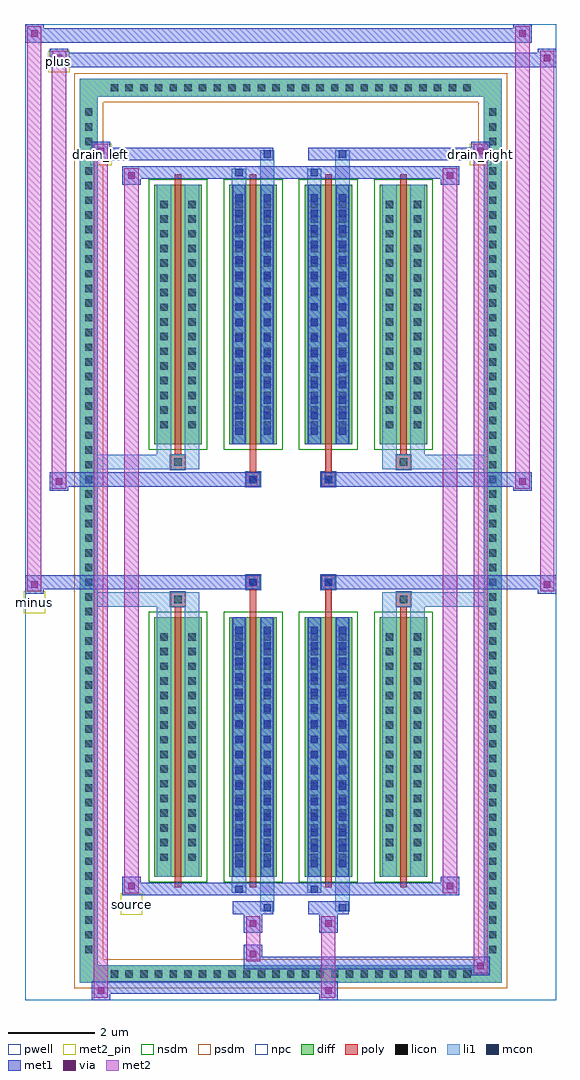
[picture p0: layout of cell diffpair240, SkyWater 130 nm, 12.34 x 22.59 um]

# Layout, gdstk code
import gdstk
lib = gdstk.Library(unit=1e-6, precision=5e-09)
def R(c, l, rs):  # rectangles x0, y0, x1, y1
    for r in rs: c.add(gdstk.rectangle(r[:2], r[2:], *l))
def A(c, l, x, y, w, h, nx, ny, dx, dy):  # array of equal rectangles
    R(c, l, [(x+i*dx, y+j*dy, x+i*dx+w, y+j*dy+h) for i in range(nx) for j in range(ny)])
def P(c, l, *ps):  # polygons
    for p in ps: c.add(gdstk.Polygon(p, *l))
pwell = (64, 44)
diff = (65, 20)
poly = (66, 20)
licon = (66, 44)
li1 = (67, 20)
mcon = (67, 44)
met1 = (68, 20)
via = (68, 44)
met2_pin = (69, 16)
met2 = (69, 20)
nsdm = (93, 44)
psdm = (94, 20)
npc = (95, 20)

diffpair240 = lib.new_cell('diffpair240')
R(diffpair240, pwell, [(-6.15,-10.86,6.15,11.73), (-3.47,-9.05,-0.01,-0.825), (0.01,-9.05,3.47,-0.825), (-3.47,0.825,-0.01,9.05), (0.01,0.825,3.47,9.05)])
A(diffpair240, diff, -4.285, -10.46, 0.41, 0.41, 25, 2, 0.34, 20.51)
A(diffpair240, diff, -4.88, -9.895, 0.41, 0.41, 1, 58, 0, 0.34)
A(diffpair240, diff, 4.47, -9.895, 0.41, 0.41, 1, 58, 0, 0.34)
A(diffpair240, diff, -3.16, -8.005, 1.1, 6, 4, 2, 1.74, 10.01)
R(diffpair240, diff, [(-4.285,-10.46,4.285,-10.05), (-4.88,-9.895,-4.47,9.895), (4.47,-9.895,4.88,9.895), (-4.285,10.05,4.285,10.46)])
P(diffpair240, diff, [(4.88,10.46),(-4.88,10.46),(-4.88,-10.05),(-4.47,-10.05),(-4.47,10.05),(4.47,10.05),(4.47,-10.05),(-4.47,-10.05),(-4.88,-10.05),(-4.88,-10.46),(4.88,-10.46)])
A(diffpair240, poly, -2.685, -8.255, 0.15, 6.5, 4, 2, 1.74, 10.01)
R(diffpair240, poly, [(-2.775,-1.755,-2.445,-1.425), (-2.775,-1.755,-2.445,-1.425), (-0.945,-1.755,-0.795,-1.355), (0.795,-1.755,0.945,-1.355), (2.445,-1.755,2.775,-1.425), (2.445,-1.755,2.775,-1.425), (-1.035,-1.355,-0.705,-1.025), (-1.035,-1.355,-0.705,-1.025), (0.705,-1.355,1.035,-1.025), (0.705,-1.355,1.035,-1.025), (-1.035,1.025,-0.705,1.355), (-1.035,1.025,-0.705,1.355), (0.705,1.025,1.035,1.355), (0.705,1.025,1.035,1.355), (-0.945,1.355,-0.795,1.755), (0.795,1.355,0.945,1.755), (-2.775,1.425,-2.445,1.755), (-2.775,1.425,-2.445,1.755), (2.445,1.425,2.775,1.755), (2.445,1.425,2.775,1.755)])
A(diffpair240, licon, -4.165, -10.34, 0.17, 0.17, 25, 2, 0.34, 20.51)
A(diffpair240, licon, -4.76, -9.775, 0.17, 0.17, 1, 58, 0, 0.34)
A(diffpair240, licon, 4.59, -9.775, 0.17, 0.17, 1, 58, 0, 0.34)
A(diffpair240, licon, -3.02, -7.64, 0.17, 0.17, 1, 16, 0, 0.34)
A(diffpair240, licon, -2.37, -7.64, 0.17, 0.17, 1, 16, 0, 0.34)
A(diffpair240, licon, -1.28, -7.64, 0.17, 0.17, 1, 16, 0, 0.34)
A(diffpair240, licon, -0.63, -7.64, 0.17, 0.17, 1, 16, 0, 0.34)
A(diffpair240, licon, 0.46, -7.64, 0.17, 0.17, 1, 16, 0, 0.34)
A(diffpair240, licon, 1.11, -7.64, 0.17, 0.17, 1, 16, 0, 0.34)
A(diffpair240, licon, 2.2, -7.64, 0.17, 0.17, 1, 16, 0, 0.34)
A(diffpair240, licon, 2.85, -7.64, 0.17, 0.17, 1, 16, 0, 0.34)
A(diffpair240, licon, -3.02, 2.37, 0.17, 0.17, 1, 16, 0, 0.34)
A(diffpair240, licon, -2.37, 2.37, 0.17, 0.17, 1, 16, 0, 0.34)
A(diffpair240, licon, -1.28, 2.37, 0.17, 0.17, 1, 16, 0, 0.34)
A(diffpair240, licon, -0.63, 2.37, 0.17, 0.17, 1, 16, 0, 0.34)
A(diffpair240, licon, 0.46, 2.37, 0.17, 0.17, 1, 16, 0, 0.34)
A(diffpair240, licon, 1.11, 2.37, 0.17, 0.17, 1, 16, 0, 0.34)
A(diffpair240, licon, 2.2, 2.37, 0.17, 0.17, 1, 16, 0, 0.34)
A(diffpair240, licon, 2.85, 2.37, 0.17, 0.17, 1, 16, 0, 0.34)
R(diffpair240, licon, [(-2.695,-1.675,-2.525,-1.505), (2.525,-1.675,2.695,-1.505), (-0.955,-1.275,-0.785,-1.105), (0.785,-1.275,0.955,-1.105), (-0.955,1.105,-0.785,1.275), (0.785,1.105,0.955,1.275), (-2.695,1.505,-2.525,1.675), (2.525,1.505,2.695,1.675)])
A(diffpair240, li1, -4.245, -10.42, 0.33, 0.33, 25, 2, 0.34, 20.51)
A(diffpair240, li1, -4.84, -9.855, 0.33, 0.33, 1, 58, 0, 0.34)
A(diffpair240, li1, 4.51, -9.855, 0.33, 0.33, 1, 58, 0, 0.34)
A(diffpair240, li1, -1.28, -7.79, 0.17, 0.17, 1, 16, 0, 0.36)
A(diffpair240, li1, -0.63, -7.79, 0.17, 0.17, 1, 16, 0, 0.36)
A(diffpair240, li1, 0.46, -7.79, 0.17, 0.17, 1, 16, 0, 0.36)
A(diffpair240, li1, 1.11, -7.79, 0.17, 0.17, 1, 16, 0, 0.36)
A(diffpair240, li1, -3.1, -7.72, 0.33, 0.33, 1, 16, 0, 0.34)
A(diffpair240, li1, -2.45, -7.72, 0.33, 0.33, 1, 16, 0, 0.34)
A(diffpair240, li1, -1.36, -7.72, 0.33, 0.33, 1, 16, 0, 0.34)
A(diffpair240, li1, -0.71, -7.72, 0.33, 0.33, 1, 16, 0, 0.34)
A(diffpair240, li1, 0.38, -7.72, 0.33, 0.33, 1, 16, 0, 0.34)
A(diffpair240, li1, 1.03, -7.72, 0.33, 0.33, 1, 16, 0, 0.34)
A(diffpair240, li1, 2.12, -7.72, 0.33, 0.33, 1, 16, 0, 0.34)
A(diffpair240, li1, 2.77, -7.72, 0.33, 0.33, 1, 16, 0, 0.34)
A(diffpair240, li1, -1.28, 2.22, 0.17, 0.17, 1, 16, 0, 0.36)
A(diffpair240, li1, -0.63, 2.22, 0.17, 0.17, 1, 16, 0, 0.36)
A(diffpair240, li1, 0.46, 2.22, 0.17, 0.17, 1, 16, 0, 0.36)
A(diffpair240, li1, 1.11, 2.22, 0.17, 0.17, 1, 16, 0, 0.36)
A(diffpair240, li1, -3.1, 2.29, 0.33, 0.33, 1, 16, 0, 0.34)
A(diffpair240, li1, -2.45, 2.29, 0.33, 0.33, 1, 16, 0, 0.34)
A(diffpair240, li1, -1.36, 2.29, 0.33, 0.33, 1, 16, 0, 0.34)
A(diffpair240, li1, -0.71, 2.29, 0.33, 0.33, 1, 16, 0, 0.34)
A(diffpair240, li1, 0.38, 2.29, 0.33, 0.33, 1, 16, 0, 0.34)
A(diffpair240, li1, 1.03, 2.29, 0.33, 0.33, 1, 16, 0, 0.34)
A(diffpair240, li1, 2.12, 2.29, 0.33, 0.33, 1, 16, 0, 0.34)
A(diffpair240, li1, 2.77, 2.29, 0.33, 0.33, 1, 16, 0, 0.34)
R(diffpair240, li1, [(-4.88,-10.46,-4.47,-10.05), (-4.88,-10.46,-4.47,-10.05), (-4.47,-10.46,4.47,-10.05), (4.47,-10.46,4.88,-10.05), (4.47,-10.46,4.88,-10.05), (-4.88,-10.05,-4.47,10.05), (4.47,-10.05,4.88,10.05), (-0.71,-8.81,-0.38,-8.005), (-0.63,-8.81,-0.46,-8.64), (1.03,-8.81,1.36,-8.005), (1.11,-8.81,1.28,-8.64), (-1.36,-8.38,-1.03,-8.005), (-1.28,-8.38,-1.11,-8.21), (0.38,-8.38,0.71,-8.005), (0.46,-8.38,0.63,-8.21), (-3.1,-8.005,-2.77,-2.005), (-2.45,-8.005,-2.12,-2.005), (-1.36,-8.005,-1.03,-2.005), (-0.71,-8.005,-0.38,-2.005), (0.38,-8.005,0.71,-2.005), (1.03,-8.005,1.36,-2.005), (2.12,-8.005,2.45,-2.005), (2.77,-8.005,3.1,-2.005), (-1.28,-7.79,-1.11,-2.22), (-0.63,-7.79,-0.46,-2.22), (0.46,-7.79,0.63,-2.22), (1.11,-7.79,1.28,-2.22), (-3.1,-2.005,-2.77,-1.425), (-2.45,-2.005,-2.12,-1.425), (2.12,-2.005,2.45,-1.425), (2.77,-2.005,3.1,-1.425), (-4.88,-1.755,-2.775,-1.425), (-3.1,-1.755,-2.775,-1.425), (-2.775,-1.755,-2.445,-1.425), (-2.445,-1.755,-2.12,-1.425), (2.12,-1.755,2.445,-1.425), (2.445,-1.755,2.775,-1.425), (2.445,-1.755,4.88,-1.425), (2.775,-1.755,3.1,-1.425), (-1.035,-1.355,-0.705,-1.025), (0.705,-1.355,1.035,-1.025), (-1.035,1.025,-0.705,1.355), (0.705,1.025,1.035,1.355), (-4.88,1.425,-2.775,1.755), (-3.1,1.425,-2.775,1.755), (-3.1,1.425,-2.77,2.005), (-2.775,1.425,-2.445,1.755), (-2.45,1.425,-2.12,2.005), (-2.445,1.425,-2.12,1.755), (2.12,1.425,2.445,1.755), (2.12,1.425,2.45,2.005), (2.445,1.425,2.775,1.755), (2.445,1.425,4.88,1.755), (2.77,1.425,3.1,2.005), (2.775,1.425,3.1,1.755), (-3.1,2.005,-2.77,8.005), (-2.45,2.005,-2.12,8.005), (-1.36,2.005,-1.03,8.005), (-0.71,2.005,-0.38,8.005), (0.38,2.005,0.71,8.005), (1.03,2.005,1.36,8.005), (2.12,2.005,2.45,8.005), (2.77,2.005,3.1,8.005), (-1.28,2.22,-1.11,7.79), (-0.63,2.22,-0.46,7.79), (0.46,2.22,0.63,7.79), (1.11,2.22,1.28,7.79), (-1.36,8.005,-1.03,8.38), (-0.71,8.005,-0.38,8.81), (0.38,8.005,0.71,8.38), (1.03,8.005,1.36,8.81), (-1.28,8.21,-1.11,8.38), (0.46,8.21,0.63,8.38), (-0.63,8.64,-0.46,8.81), (1.11,8.64,1.28,8.81), (-4.88,10.05,-4.47,10.46), (-4.88,10.05,-4.47,10.46), (-4.47,10.05,4.47,10.46), (4.47,10.05,4.88,10.46), (4.47,10.05,4.88,10.46)])
A(diffpair240, mcon, -1.28, -7.79, 0.17, 0.17, 1, 16, 0, 0.36)
A(diffpair240, mcon, -0.63, -7.79, 0.17, 0.17, 1, 16, 0, 0.36)
A(diffpair240, mcon, 0.46, -7.79, 0.17, 0.17, 1, 16, 0, 0.36)
A(diffpair240, mcon, 1.11, -7.79, 0.17, 0.17, 1, 16, 0, 0.36)
A(diffpair240, mcon, -1.28, 2.22, 0.17, 0.17, 1, 16, 0, 0.36)
A(diffpair240, mcon, -0.63, 2.22, 0.17, 0.17, 1, 16, 0, 0.36)
A(diffpair240, mcon, 0.46, 2.22, 0.17, 0.17, 1, 16, 0, 0.36)
A(diffpair240, mcon, 1.11, 2.22, 0.17, 0.17, 1, 16, 0, 0.36)
R(diffpair240, mcon, [(-0.63,-8.81,-0.46,-8.64), (1.11,-8.81,1.28,-8.64), (-1.28,-8.38,-1.11,-8.21), (0.46,-8.38,0.63,-8.21), (-0.955,-1.275,-0.785,-1.105), (0.785,-1.275,0.955,-1.105), (-0.955,1.105,-0.785,1.275), (0.785,1.105,0.955,1.275), (-1.28,8.21,-1.11,8.38), (0.46,8.21,0.63,8.38), (-0.63,8.64,-0.46,8.81), (1.11,8.64,1.28,8.81)])
A(diffpair240, met1, -1.34, -7.85, 0.29, 0.29, 1, 16, 0, 0.36)
A(diffpair240, met1, -0.69, -7.85, 0.29, 0.29, 1, 16, 0, 0.36)
A(diffpair240, met1, 0.4, -7.85, 0.29, 0.29, 1, 16, 0, 0.36)
A(diffpair240, met1, 1.05, -7.85, 0.29, 0.29, 1, 16, 0, 0.36)
A(diffpair240, met1, -1.34, 2.16, 0.29, 0.29, 1, 16, 0, 0.36)
A(diffpair240, met1, -0.69, 2.16, 0.29, 0.29, 1, 16, 0, 0.36)
A(diffpair240, met1, 0.4, 2.16, 0.29, 0.29, 1, 16, 0, 0.36)
A(diffpair240, met1, 1.05, 2.16, 0.29, 0.29, 1, 16, 0, 0.36)
R(diffpair240, met1, [(-4.61,-10.86,-4.18,-10.43), (0.655,-10.86,1.085,-10.43), (-4.61,-10.72,1.085,-10.43), (4.18,-10.29,4.61,-9.86), (-1.085,-10.15,4.61,-9.86), (-1.085,-10.01,-0.655,-9.58), (-1.085,-9.3,-0.655,-8.87), (0.655,-9.3,1.085,-8.87), (-1.34,-8.87,-0.4,-8.58), (-0.69,-8.87,-0.4,-8.58), (0.4,-8.87,1.34,-8.58), (1.05,-8.87,1.34,-8.58), (-3.9,-8.44,-3.47,-8.01), (-3.9,-8.44,-1.34,-8.15), (-1.34,-8.44,-1.05,-8.15), (-1.34,-8.44,-0.4,-8.15), (-0.4,-8.44,0.4,-8.15), (0.4,-8.44,0.69,-8.15), (0.4,-8.44,1.34,-8.15), (1.34,-8.44,3.9,-8.15), (3.47,-8.44,3.9,-8.01), (-1.34,-8.005,-1.05,-2.005), (-0.69,-8.005,-0.4,-2.005), (0.4,-8.005,0.69,-2.005), (1.05,-8.005,1.34,-2.005), (-6.15,-1.455,-5.72,-1.025), (5.72,-1.455,6.15,-1.025), (-6.15,-1.355,-0.705,-1.025), (-1.035,-1.355,-0.705,-1.025), (0.705,-1.355,1.035,-1.025), (0.705,-1.355,6.15,-1.025), (-1.015,-1.335,-0.725,-1.045), (0.725,-1.335,1.015,-1.045), (-5.58,0.925,-5.15,1.355), (5.15,0.925,5.58,1.355), (-5.58,1.025,-1.035,1.355), (-1.035,1.025,-0.705,1.355), (0.705,1.025,1.035,1.355), (1.035,1.025,5.58,1.355), (-1.015,1.045,-0.725,1.335), (0.725,1.045,1.015,1.335), (-1.34,2.005,-1.05,8.005), (-0.69,2.005,-0.4,8.005), (0.4,2.005,0.69,8.005), (1.05,2.005,1.34,8.005), (-3.9,8.01,-3.47,8.44), (3.47,8.01,3.9,8.44), (-3.9,8.15,-1.34,8.44), (-1.34,8.15,-1.05,8.44), (-1.34,8.15,-0.4,8.44), (-0.4,8.15,0.4,8.44), (0.4,8.15,0.69,8.44), (0.4,8.15,1.34,8.44), (1.34,8.15,3.9,8.44), (-4.61,8.58,-4.18,9.01), (-4.61,8.58,-1.34,8.87), (-1.34,8.58,-0.4,8.87), (-0.69,8.58,-0.4,8.87), (0.4,8.58,1.34,8.87), (1.05,8.58,1.34,8.87), (1.34,8.58,4.61,8.87), (4.18,8.58,4.61,9.01), (-5.58,10.73,-5.15,11.16), (-5.58,10.73,-3.47,11.06), (-3.47,10.73,3.47,11.06), (3.47,10.73,6.15,11.06), (5.72,10.73,6.15,11.16), (-6.15,11.3,-5.72,11.73), (-6.15,11.3,-3.47,11.63), (-3.47,11.3,3.47,11.63), (3.47,11.3,5.58,11.63), (5.15,11.3,5.58,11.73)])
R(diffpair240, via, [(-4.47,-10.72,-4.32,-10.57), (0.795,-10.72,0.945,-10.57), (4.32,-10.15,4.47,-10), (-0.945,-9.87,-0.795,-9.72), (-0.945,-9.16,-0.795,-9.01), (0.795,-9.16,0.945,-9.01), (-3.76,-8.3,-3.61,-8.15), (3.61,-8.3,3.76,-8.15), (-6.01,-1.315,-5.86,-1.165), (5.86,-1.315,6.01,-1.165), (-5.44,1.065,-5.29,1.215), (5.29,1.065,5.44,1.215), (-3.76,8.15,-3.61,8.3), (3.61,8.15,3.76,8.3), (-4.47,8.72,-4.32,8.87), (4.32,8.72,4.47,8.87), (-5.44,10.87,-5.29,11.02), (5.86,10.87,6.01,11.02), (-6.01,11.44,-5.86,11.59), (5.29,11.44,5.44,11.59)])
R(diffpair240, met2_pin, [(-3.935,-8.89,-3.435,-8.39), (-6.185,-1.905,-5.685,-1.405), (-4.645,8.46,-4.145,8.96), (4.145,8.46,4.645,8.96), (-5.615,10.61,-5.115,11.11)])
R(diffpair240, met2, [(-4.56,-10.81,-4.23,-10.48), (-4.56,-10.81,-4.23,8.96), (0.705,-10.81,1.035,-10.48), (0.705,-10.48,1.035,-9.25), (4.23,-10.24,4.56,-9.91), (4.23,-10.24,4.56,8.96), (-1.035,-9.96,-0.705,-9.63), (-1.035,-9.63,-0.705,-9.25), (-1.035,-9.25,-0.705,-8.92), (0.705,-9.25,1.035,-8.92), (-3.85,-8.39,-3.52,-8.06), (-3.85,-8.39,-3.52,8.39), (3.52,-8.39,3.85,-8.06), (3.52,-8.39,3.85,8.39), (-6.1,-1.405,-5.77,-1.075), (-6.1,-1.405,-5.77,11.68), (5.77,-1.405,6.1,-1.075), (5.77,-1.405,6.1,11.11), (-5.53,0.975,-5.2,1.305), (-5.53,0.975,-5.2,11.11), (5.2,0.975,5.53,1.305), (5.2,0.975,5.53,11.68), (-3.85,8.06,-3.52,8.39), (3.52,8.06,3.85,8.39), (-4.56,8.63,-4.23,8.96), (4.23,8.63,4.56,8.96), (-5.53,10.78,-5.2,11.11), (5.77,10.78,6.1,11.11), (-6.1,11.35,-5.77,11.68), (5.2,11.35,5.53,11.68)])
P(diffpair240, met2, [(6.1,-1.405),(6.1,-1.405),(6.1,-1.075),(6.1,-1.075)],
  [(6.1,10.78),(6.1,10.78),(6.1,11.11),(6.1,11.11)],
  [(-5.77,-1.405),(-5.77,-1.405),(-5.77,-1.075),(-5.77,-1.075)],
  [(-5.77,11.35),(-5.77,11.35),(-5.77,11.68),(-5.77,11.68)],
  [(5.53,0.975),(5.53,0.975),(5.53,1.305),(5.53,1.305)],
  [(5.53,11.35),(5.53,11.35),(5.53,11.68),(5.53,11.68)],
  [(-5.2,0.975),(-5.2,0.975),(-5.2,1.305),(-5.2,1.305)],
  [(-5.2,10.78),(-5.2,10.78),(-5.2,11.11),(-5.2,11.11)],
  [(-4.23,-10.81),(-4.23,-10.81),(-4.23,-10.48),(-4.23,-10.48)],
  [(-4.23,8.63),(-4.23,8.63),(-4.23,8.96),(-4.23,8.96)],
  [(4.56,-10.24),(4.56,-10.24),(4.56,-9.91),(4.56,-9.91)],
  [(4.56,8.63),(4.56,8.63),(4.56,8.96),(4.56,8.96)],
  [(-3.52,-8.39),(-3.52,-8.39),(-3.52,-8.06),(-3.52,-8.06)],
  [(-3.52,8.06),(-3.52,8.06),(-3.52,8.39),(-3.52,8.39)],
  [(3.85,-8.39),(3.85,-8.39),(3.85,-8.06),(3.85,-8.06)],
  [(3.85,8.06),(3.85,8.06),(3.85,8.39),(3.85,8.39)])
A(diffpair240, nsdm, -3.29, -8.135, 1.36, 6.26, 4, 2, 1.74, 10.01)
P(diffpair240, psdm, [(5.01,10.59),(-5.01,10.59),(-5.01,-9.92),(-4.34,-9.92),(-4.34,9.92),(4.34,9.92),(4.34,-9.92),(-4.34,-9.92),(-5.01,-9.92),(-5.01,-10.59),(5.01,-10.59)])
R(diffpair240, npc, [(-2.795,-1.775,-2.425,-1.405), (2.425,-1.775,2.795,-1.405), (-1.055,-1.375,-0.685,-1.005), (0.685,-1.375,1.055,-1.005), (-1.055,1.005,-0.685,1.375), (0.685,1.005,1.055,1.375), (-2.795,1.405,-2.425,1.775), (2.425,1.405,2.795,1.775)])
diffpair240.add(gdstk.Label('minus', (-5.935,-1.655), layer=69, texttype=5))
diffpair240.add(gdstk.Label('drain_right', (4.395,8.71), layer=69, texttype=5))
diffpair240.add(gdstk.Label('drain_left', (-4.395,8.71), layer=69, texttype=5))
diffpair240.add(gdstk.Label('source', (-3.685,-8.64), layer=69, texttype=5))
diffpair240.add(gdstk.Label('plus', (-5.365,10.86), layer=69, texttype=5))

lib.write_gds('diffpair240.gds')
